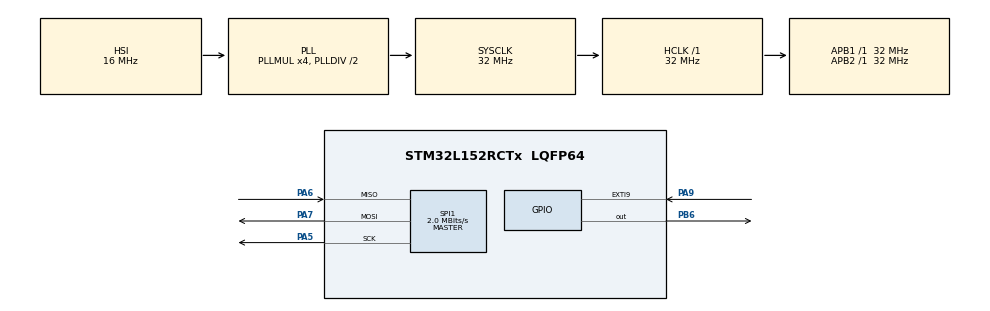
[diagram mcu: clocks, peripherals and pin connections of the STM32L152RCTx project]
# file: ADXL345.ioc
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Mcu.Family=STM32L1
Mcu.Name=STM32L152RCTx
Mcu.Package=LQFP64
NVIC.EXTI9_5_IRQn=true\:0\:0\:false\:false\:true\:true\:true\:true
NVIC.PriorityGroup=NVIC_PRIORITYGROUP_4
PA13.Mode=Trace_Asynchronous_SW
PA13.Signal=SYS_JTMS-SWDIO
PA14.Mode=Trace_Asynchronous_SW
PA14.Signal=SYS_JTCK-SWCLK
PA5.Mode=Full_Duplex_Master
PA5.Signal=SPI1_SCK
PA6.Mode=Full_Duplex_Master
PA6.Signal=SPI1_MISO
PA7.Mode=Full_Duplex_Master
PA7.Signal=SPI1_MOSI
PA9.GPIO_ModeDefaultEXTI=GPIO_MODE_IT_RISING
PA9.GPIO_PuPd=GPIO_PULLDOWN
PA9.Signal=GPXTI9
PB3.Mode=Trace_Asynchronous_SW
PB3.Signal=SYS_JTDO-TRACESWO
PB6.Signal=GPIO_Output
ProjectManager.HeapSize=0x200
ProjectManager.StackSize=0x400
ProjectManager.TargetToolchain=STM32CubeIDE
RCC.48MHZClocksFreq_Value=32000000
RCC.AHBFreq_Value=32000000
RCC.APB1Freq_Value=32000000
RCC.APB1TimFreq_Value=32000000
RCC.APB2Freq_Value=32000000
RCC.APB2TimFreq_Value=32000000
RCC.HCLKFreq_Value=32000000
RCC.HSE_VALUE=24000000
RCC.HSI_VALUE=16000000
RCC.LSE_VALUE=32768
RCC.MSI_VALUE=2097000
RCC.PLLMUL=RCC_PLL_MUL4
RCC.SYSCLKFreq_VALUE=32000000
RCC.SYSCLKSource=RCC_SYSCLKSOURCE_PLLCLK
RCC.VCOOutputFreq_Value=64000000
SPI1.BaudRatePrescaler=SPI_BAUDRATEPRESCALER_16
SPI1.CLKPhase=SPI_PHASE_2EDGE
SPI1.CLKPolarity=SPI_POLARITY_HIGH
SPI1.CalculateBaudRate=2.0 MBits/s
SPI1.Direction=SPI_DIRECTION_2LINES
SPI1.FirstBit=SPI_FIRSTBIT_MSB
SPI1.Mode=SPI_MODE_MASTER
SPI1.VirtualType=VM_MASTER
board=custom

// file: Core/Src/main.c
/* USER CODE BEGIN Header */
/**
  ******************************************************************************
  * @file           : main.c
  * @brief          : Main program body
  ******************************************************************************
  * @attention
  *
  * Copyright (c) 2024 STMicroelectronics.
  * All rights reserved.
  *
  * This software is licensed under terms that can be found in the LICENSE file
  * in the root directory of this software component.
  * If no LICENSE file comes with this software, it is provided AS-IS.
  *
  ******************************************************************************
  */
/* USER CODE END Header */
#include "main.h"

/* USER CODE BEGIN Includes */
#include <stdio.h>
#include "math.h"
/* USER CODE END Includes */

SPI_HandleTypeDef hspi1;

void SystemClock_Config(void);
static void MX_GPIO_Init(void);
static void MX_SPI1_Init(void);
/* USER CODE BEGIN PFP */
int _write(int32_t file, uint8_t *ptr, int32_t len)
{
    for (int i = 0; i < len; i++)
    {
        ITM_SendChar(*ptr++);
    }
    return len;
}
/* USER CODE END PFP */

/* USER CODE BEGIN 0 */
uint8_t RxData[6];
int16_t x,y,z;
uint8_t chipID = 0;
float xg, yg, zg;

uint8_t int_source = 0;

int count = 0;

// Device Registers for ADXL345 Accelerometer
uint8_t DEVICE			= 0x00 ;	// Device ID
uint8_t THRESH_TAP		= 0x1D ;	// Tap threshold
uint8_t OFSX			= 0x1D ;	// X-axis offset
uint8_t OFSY			= 0x1E ;	// Y-axis offset
uint8_t OFSZ			= 0x20 ;	// Z-axis offset
uint8_t DUR				= 0x21 ;	// Tap duration
uint8_t Latent			= 0x22 ;	// Tap latency
uint8_t Window			= 0x23 ;	// Tap window
uint8_t THRESH_ACT		= 0x24 ;	// Activity threshold
uint8_t THRESH_INACT	= 0x25 ; 	// Inactivity threshold
uint8_t TIME_INACT		= 0x26 ;	// Inactivity time
uint8_t ACT_INACT_CTL	= 0x27 ; 	// Axis enable control for activity inactivity detection
uint8_t THRESH_FF		= 0x28 ; 	// Free-fall threshold
uint8_t TIME_FF			= 0x29 ; 	// Free-fall time
uint8_t TAP_AXES		= 0x2A ; 	// Axis control for single tap/double tap
uint8_t ACT_TAP_STATUS	= 0x2B ; 	// Source of single tap/double tap
uint8_t BW_RATE			= 0x2C ; 	// Data rate and power mode control
uint8_t POWER_CTL		= 0x2D ; 	// Power-saving features control
uint8_t INT_ENABLE     	= 0x2E ; 	// Interrupt enable control
uint8_t INT_MAP         = 0x2F ; 	// Interrupt mapping control
uint8_t INT_SOURCE      = 0x30 ; 	// Source of interrupts
uint8_t DATA_FORMAT     = 0x31 ; 	// Data format control
uint8_t DATAX0          = 0x32 ; 	// X-axis data 0
uint8_t DATAX1          = 0x33 ; 	// X-axis data 1
uint8_t DATAY0          = 0x34 ; 	// Y-axis data 0
uint8_t DATAY1          = 0x35 ; 	// Y-axis data 1
uint8_t DATAZ0          = 0x36 ; 	// Z-axis data 0
uint8_t DATAZ1          = 0x37 ; 	// Z-axis data 1
uint8_t FIFO_CTL        = 0x38 ; 	// FIFO control
uint8_t FIFO_STATUS     = 0x39 ; 	// FIFO status

void HAL_GPIO_EXTI_Callback(uint16_t GPIO_Pin)
{
    if(GPIO_Pin == GPIO_PIN_9)  // INT2 - Activity
    {
    	if(int_source & (1 << 4)) // check D4 activity
    	{

    		printf("Activity Detection.\r\n");
    	}
    }
}

void adxl_write (uint8_t Reg, uint8_t data)
{
	uint8_t writeBuf[2];
	writeBuf[0] = Reg|0x40;  // multibyte write enabled
	writeBuf[1] = data;
	HAL_GPIO_WritePin (GPIOB, GPIO_PIN_6, GPIO_PIN_RESET); // pull the cs pin low to enable the slave
	HAL_SPI_Transmit (&hspi1, writeBuf, 2, 100);  // transmit the address and data
	HAL_GPIO_WritePin (GPIOB, GPIO_PIN_6, GPIO_PIN_SET); // pull the cs pin high to disable the slave
}

void adxl_read (uint8_t Reg, uint8_t *Buffer, size_t len)
{
	Reg |= 0x80;  // read operation
	Reg |= 0x40;  // multi-byte read
	HAL_GPIO_WritePin (GPIOB, GPIO_PIN_6, GPIO_PIN_RESET);  // pull the CS pin low to enable the slave
	HAL_SPI_Transmit (&hspi1, &Reg, 1, 10);  // send the address from where you want to read data
	HAL_SPI_Receive (&hspi1, Buffer, len, 10);  // read 6 BYTES of data
	HAL_GPIO_WritePin (GPIOB, GPIO_PIN_6, GPIO_PIN_SET);  // pull the CS pin high to disable the slave
}

void adxl_init (void)
{
	adxl_read(DEVICE, &chipID, 1);
	if (chipID == 0xE5)
	{
		adxl_write (POWER_CTL, 0x00);		// Standby mode for initialize

		adxl_write (BW_RATE, 0x0D);			// Disable sleep mode Output Data Rate 800Hz

		adxl_write (DATA_FORMAT, 0x0B);		// ±16 g full resolution 13-bit mode and right-justified mode

		// The scale factor of offset is 15.6mg/LSB = 0.0156g/LSB
		adxl_write (OFSX, 0x03);			// x_avg (100 samples) = -0.04989g
		adxl_write (OFSY, 0x03);			// y_avg (100 samples) = -0.03662g
		adxl_write (OFSZ, 0x03);			// z_avg (100 samples) = 0.946931g

		// The scale factor of threshold activity is 62.5mg/LSB = 0.0625g/LSB
		adxl_write (THRESH_ACT, 0x03);		// set threshold activity

//		adxl_write (THRESH_INACT, 0x02);	// set threshold inactivity 0.125g
//		// The scale factor of time inactivity is 1sec/LSB
//		adxl_write (TIME_INACT, 0x1E);		// set time inactivity 30s

		// Control activity detection axis
		// ACT_ACT_CTL 0x60: 0110 0000 DC-coupled and detected X and Y axis
		// ACT_INACT_CTL 0x06: 0000 0110 DC-coupled and detected X and Y axis
		adxl_write (ACT_INACT_CTL, 0x60);

		adxl_write (INT_ENABLE, 0x00);		// Clear interrupt functions
		adxl_write (INT_MAP, 0x10);			// Activity D4 INIT2
		adxl_write (INT_ENABLE, 0x10);		// Enable interrupt activity and inactivity function

//		adxl_write (FIFO_CTL, 0xCA);		// 10-sample, trigger mode and link with INT1

//		adxl_write (BW_RATE, 0x0D);			// Disable sleep mode Output Data Rate 800Hz
//
		adxl_write (POWER_CTL, 0x08);		// Charge power mode to measure mode and enable link bit

		HAL_Delay(1000);
	}
}

/* USER CODE END 0 */

int main(void)
{

  /* MCU Configuration--------------------------------------------------------*/

  /* Reset of all peripherals, Initializes the Flash interface and the Systick. */
  HAL_Init();

  /* Configure the system clock */
  SystemClock_Config();

  /* Initialize all configured peripherals */
  MX_GPIO_Init();
  MX_SPI1_Init();
  /* USER CODE BEGIN 2 */

  adxl_init();

  /* USER CODE END 2 */

  /* Infinite loop */
  while (1)
  {

    /* USER CODE BEGIN 3 */
	  adxl_read (INT_SOURCE , &int_source, 1 );
	  adxl_read (DATAX0, RxData, 6);

	  x = ((RxData[1] << 8) | RxData[0]);
	  y = ((RxData[3] << 8) | RxData[2]);
	  z = ((RxData[5] << 8) | RxData[4]);

	  // Convert into 'g'
	  xg = (float)x*0.0039 ;
	  yg = (float)y*0.0039 ;
	  zg = (float)z*0.0039 ;

//	  if( count <= 500)
//	  {
//		  // Print it as data CSV format file
//	      printf("%d;\%.3f; %.3f; %.3f\r\n",count,xg,yg,zg);
//	      count++;
//	  }

//	  if(int_source & (1 << 4)) // check D4 activity
//	  {
//		  printf("Movement \r\n");
//		  printf("0x%X",int_source);
//		  printf("ID Device: 0x%X === X:\%.3f; Y:%.3f ; Z:%.3f \r\n",chipID,xg,yg,zg);
//	  }

//	  printf("0x%X",int_source);
//	  printf("ID Device: 0x%X === X:\%.3f; Y:%.3f ; Z:%.3f \r\n",chipID,xg,yg,zg);
	  HAL_Delay(10);
  }
  /* USER CODE END 3 */
}

void SystemClock_Config(void)
{
  RCC_OscInitTypeDef RCC_OscInitStruct = {0};
  RCC_ClkInitTypeDef RCC_ClkInitStruct = {0};

  /** Configure the main internal regulator output voltage
  */
  __HAL_PWR_VOLTAGESCALING_CONFIG(PWR_REGULATOR_VOLTAGE_SCALE1);

  /** Initializes the RCC Oscillators according to the specified parameters
  * in the RCC_OscInitTypeDef structure.
  */
  RCC_OscInitStruct.OscillatorType = RCC_OSCILLATORTYPE_HSI;
  RCC_OscInitStruct.HSIState = RCC_HSI_ON;
  RCC_OscInitStruct.HSICalibrationValue = RCC_HSICALIBRATION_DEFAULT;
  RCC_OscInitStruct.PLL.PLLState = RCC_PLL_ON;
  RCC_OscInitStruct.PLL.PLLSource = RCC_PLLSOURCE_HSI;
  RCC_OscInitStruct.PLL.PLLMUL = RCC_PLL_MUL4;
  RCC_OscInitStruct.PLL.PLLDIV = RCC_PLL_DIV2;
  if (HAL_RCC_OscConfig(&RCC_OscInitStruct) != HAL_OK)
  {
    Error_Handler();
  }

  /** Initializes the CPU, AHB and APB buses clocks
  */
  RCC_ClkInitStruct.ClockType = RCC_CLOCKTYPE_HCLK|RCC_CLOCKTYPE_SYSCLK
                              |RCC_CLOCKTYPE_PCLK1|RCC_CLOCKTYPE_PCLK2;
  RCC_ClkInitStruct.SYSCLKSource = RCC_SYSCLKSOURCE_PLLCLK;
  RCC_ClkInitStruct.AHBCLKDivider = RCC_SYSCLK_DIV1;
  RCC_ClkInitStruct.APB1CLKDivider = RCC_HCLK_DIV1;
  RCC_ClkInitStruct.APB2CLKDivider = RCC_HCLK_DIV1;

  if (HAL_RCC_ClockConfig(&RCC_ClkInitStruct, FLASH_LATENCY_1) != HAL_OK)
  {
    Error_Handler();
  }
}

static void MX_SPI1_Init(void)
{

  /* SPI1 parameter configuration*/
  hspi1.Instance = SPI1;
  hspi1.Init.Mode = SPI_MODE_MASTER;
  hspi1.Init.Direction = SPI_DIRECTION_2LINES;
  hspi1.Init.DataSize = SPI_DATASIZE_8BIT;
  hspi1.Init.CLKPolarity = SPI_POLARITY_HIGH;
  hspi1.Init.CLKPhase = SPI_PHASE_2EDGE;
  hspi1.Init.NSS = SPI_NSS_SOFT;
  hspi1.Init.BaudRatePrescaler = SPI_BAUDRATEPRESCALER_16;
  hspi1.Init.FirstBit = SPI_FIRSTBIT_MSB;
  hspi1.Init.TIMode = SPI_TIMODE_DISABLE;
  hspi1.Init.CRCCalculation = SPI_CRCCALCULATION_DISABLE;
  hspi1.Init.CRCPolynomial = 10;
  if (HAL_SPI_Init(&hspi1) != HAL_OK)
  {
    Error_Handler();
  }

}

static void MX_GPIO_Init(void)
{
  GPIO_InitTypeDef GPIO_InitStruct = {0};

  /* GPIO Ports Clock Enable */
  __HAL_RCC_GPIOA_CLK_ENABLE();
  __HAL_RCC_GPIOB_CLK_ENABLE();

  /*Configure GPIO pin Output Level */
  HAL_GPIO_WritePin(GPIOB, GPIO_PIN_6, GPIO_PIN_RESET);

  /*Configure GPIO pin : PA9 */
  GPIO_InitStruct.Pin = GPIO_PIN_9;
  GPIO_InitStruct.Mode = GPIO_MODE_IT_RISING;
  GPIO_InitStruct.Pull = GPIO_PULLDOWN;
  HAL_GPIO_Init(GPIOA, &GPIO_InitStruct);

  /*Configure GPIO pin : PB6 */
  GPIO_InitStruct.Pin = GPIO_PIN_6;
  GPIO_InitStruct.Mode = GPIO_MODE_OUTPUT_PP;
  GPIO_InitStruct.Pull = GPIO_NOPULL;
  GPIO_InitStruct.Speed = GPIO_SPEED_FREQ_LOW;
  HAL_GPIO_Init(GPIOB, &GPIO_InitStruct);

  /* EXTI interrupt init*/
  HAL_NVIC_SetPriority(EXTI9_5_IRQn, 0, 0);
  HAL_NVIC_EnableIRQ(EXTI9_5_IRQn);

}

void Error_Handler(void)
{
  __disable_irq();
  while (1)
  {
  }
}
